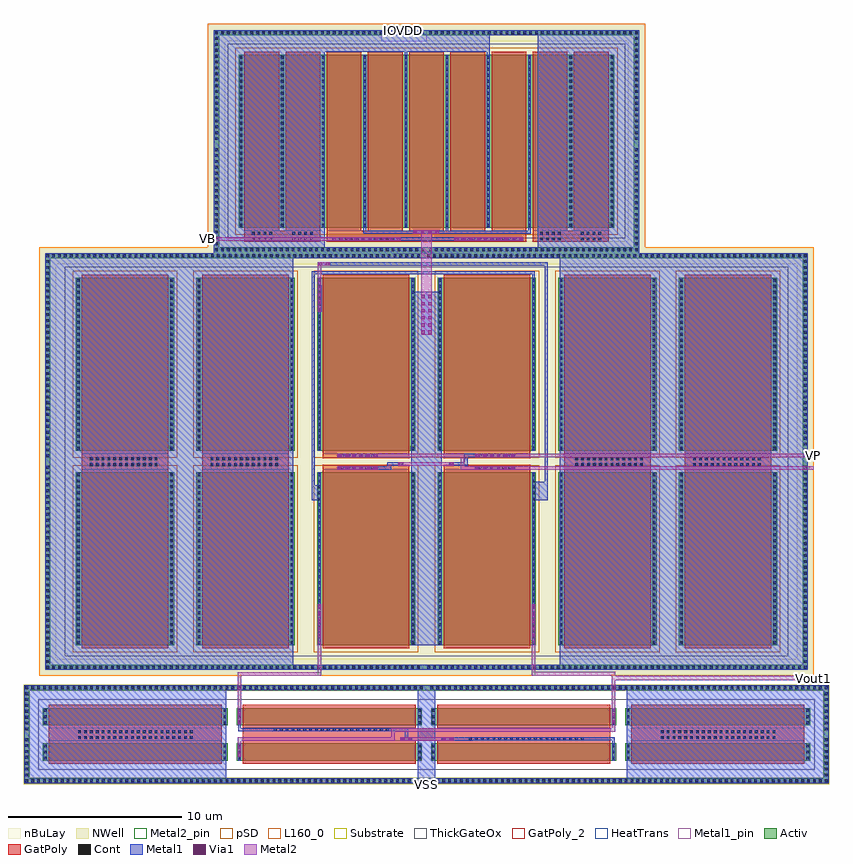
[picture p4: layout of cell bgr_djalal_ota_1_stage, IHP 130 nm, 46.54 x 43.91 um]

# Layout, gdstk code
import gdstk
lib = gdstk.Library(unit=1e-6, precision=1e-09)
def R(c, l, rs):  # rectangles x0, y0, x1, y1
    for r in rs: c.add(gdstk.rectangle(r[:2], r[2:], *l))
def A(c, l, x, y, w, h, nx, ny, dx, dy):  # array of equal rectangles
    R(c, l, [(x+i*dx, y+j*dy, x+i*dx+w, y+j*dy+h) for i in range(nx) for j in range(ny)])
def P(c, l, *ps):  # polygons
    for p in ps: c.add(gdstk.Polygon(p, *l))
Activ = (1, 0)
GatPoly = (5, 0)
GatPoly_2 = (5, 2)
Cont = (6, 0)
Metal1 = (8, 0)
Metal1_pin = (8, 2)
Metal2 = (10, 0)
Metal2_pin = (10, 2)
pSD = (14, 0)
Via1 = (19, 0)
NWell = (31, 0)
nBuLay = (32, 0)
Substrate = (40, 0)
ThickGateOx = (44, 0)
HeatTrans = (51, 0)
L160_0 = (160, 0)

guard_ring_13 = lib.new_cell('guard_ring$13')
R(guard_ring_13, Activ, [(-22.035,-11.74,-21.735,11.74), (21.735,-11.74,22.035,11.74), (-22.035,11.74,22.035,12.04)])
P(guard_ring_13, Activ, [(-22.035,-12.04),(-22.035,11.74),(-21.735,11.74),(-21.735,-11.74),(21.735,-11.74),(21.735,11.74),(-22.035,11.74),(-22.035,12.04),(22.035,12.04),(22.035,-12.04)])
A(guard_ring_13, Cont, -21.965, -11.97, 0.16, 0.16, 64, 2, 0.34, 23.78)
A(guard_ring_13, Cont, 0.045, -11.97, 0.16, 0.16, 65, 2, 0.34, 23.78)
A(guard_ring_13, Cont, -21.965, -11.63, 0.16, 0.16, 1, 34, 0, 0.34)
A(guard_ring_13, Cont, 21.805, -11.63, 0.16, 0.16, 1, 34, 0, 0.34)
A(guard_ring_13, Cont, -21.965, 0.25, 0.16, 0.16, 1, 34, 0, 0.34)
A(guard_ring_13, Cont, 21.805, 0.25, 0.16, 0.16, 1, 34, 0, 0.34)
R(guard_ring_13, Metal1, [(-22.035,-12.04,22.035,-11.74), (-22.035,-11.74,-21.735,11.74), (21.735,-11.74,22.035,11.74), (-22.035,11.74,22.035,12.04)])
R(guard_ring_13, NWell, [(-22.385,-12.39,22.385,12.39)])
R(guard_ring_13, nBuLay, [(-22.385,-11.39,-21.385,11.39), (21.385,-11.39,22.385,11.39), (-22.385,11.39,22.385,12.39)])
P(guard_ring_13, nBuLay, [(-22.385,-12.39),(-22.385,11.39),(-21.385,11.39),(-21.385,-11.39),(21.385,-11.39),(21.385,11.39),(-22.385,11.39),(-22.385,12.39),(22.385,12.39),(22.385,-12.39)])
guard_ring_13.add(gdstk.Label('well', (0,-11.89), layer=63, texttype=0))

via_stack_30 = lib.new_cell('via_stack$30')
R(via_stack_30, GatPoly, [(-1,-0.15,1,0.15)])
A(via_stack_30, Cont, -0.93, -0.08, 0.16, 0.16, 6, 1, 0.34, 0)
R(via_stack_30, Metal1, [(-1.17,-0.105,1.17,0.105)])
R(via_stack_30, Metal2, [(-1.17,-0.1,1.17,0.1)])
A(via_stack_30, Via1, -1.12, -0.095, 0.19, 0.19, 6, 1, 0.41, 0)

via_stack_3 = lib.new_cell('via_stack$3')
R(via_stack_3, Metal1, [(-0.145,-0.105,0.145,0.105)])
R(via_stack_3, Metal2, [(-0.145,-0.1,0.145,0.1)])
R(via_stack_3, Via1, [(-0.095,-0.095,0.095,0.095)])

via_stack_6 = lib.new_cell('via_stack$6')
R(via_stack_6, Metal1, [(-0.35,-0.105,0.35,0.105)])
R(via_stack_6, Metal2, [(-0.35,-0.1,0.35,0.1)])
R(via_stack_6, Via1, [(-0.3,-0.095,-0.11,0.095), (0.11,-0.095,0.3,0.095)])

via_stack_4 = lib.new_cell('via_stack$4')
R(via_stack_4, Metal1, [(-0.105,-0.76,0.105,0.76)])
R(via_stack_4, Metal2, [(-0.1,-0.76,0.1,0.76)])
A(via_stack_4, Via1, -0.095, -0.71, 0.19, 0.19, 1, 4, 0, 0.41)

via_stack_31 = lib.new_cell('via_stack$31')
R(via_stack_31, GatPoly, [(-2.02,-0.32,2.02,0.32)])
A(via_stack_31, Cont, -1.95, -0.25, 0.16, 0.16, 12, 2, 0.34, 0.34)
R(via_stack_31, Metal1, [(-2,-0.25,2,0.25)])

via_stack_18 = lib.new_cell('via_stack$18')
R(via_stack_18, Metal1, [(-0.105,-0.965,0.105,0.965)])
R(via_stack_18, Metal2, [(-0.1,-0.965,0.1,0.965)])
A(via_stack_18, Via1, -0.095, -0.915, 0.19, 0.19, 1, 5, 0, 0.41)

via_stack_32 = lib.new_cell('via_stack$32')
R(via_stack_32, Metal1, [(-0.31,-1.17,0.31,1.17)])
R(via_stack_32, Metal2, [(-0.305,-1.17,0.305,1.17)])
A(via_stack_32, Via1, -0.3, -1.12, 0.19, 0.19, 1, 6, 0, 0.41)
A(via_stack_32, Via1, 0.11, -1.12, 0.19, 0.19, 1, 6, 0, 0.41)

pmoshv_2 = lib.new_cell('pmosHV$2')
R(pmoshv_2, Activ, [(0,0,0.3,0.3), (0,0,5.68,10), (5.38,0,5.68,0.3)])
R(pmoshv_2, GatPoly, [(0.34,-0.18,5.34,10.18)])
R(pmoshv_2, GatPoly_2, [(0.34,-0.18,5.34,10.18)])
A(pmoshv_2, Cont, 0.07, 0.07, 0.16, 0.16, 1, 4, 0, 0.345)
A(pmoshv_2, Cont, 5.45, 0.07, 0.16, 0.16, 1, 4, 0, 0.345)
A(pmoshv_2, Cont, 0.07, 1.455, 0.16, 0.16, 1, 3, 0, 0.345)
A(pmoshv_2, Cont, 5.45, 1.455, 0.16, 0.16, 1, 3, 0, 0.345)
A(pmoshv_2, Cont, 0.07, 2.495, 0.16, 0.16, 1, 4, 0, 0.345)
A(pmoshv_2, Cont, 5.45, 2.495, 0.16, 0.16, 1, 4, 0, 0.345)
A(pmoshv_2, Cont, 0.07, 3.88, 0.16, 0.16, 1, 3, 0, 0.345)
A(pmoshv_2, Cont, 5.45, 3.88, 0.16, 0.16, 1, 3, 0, 0.345)
A(pmoshv_2, Cont, 0.07, 4.92, 0.16, 0.16, 1, 4, 0, 0.345)
A(pmoshv_2, Cont, 5.45, 4.92, 0.16, 0.16, 1, 4, 0, 0.345)
A(pmoshv_2, Cont, 0.07, 6.305, 0.16, 0.16, 1, 3, 0, 0.345)
A(pmoshv_2, Cont, 5.45, 6.305, 0.16, 0.16, 1, 3, 0, 0.345)
A(pmoshv_2, Cont, 0.07, 7.345, 0.16, 0.16, 1, 4, 0, 0.345)
A(pmoshv_2, Cont, 5.45, 7.345, 0.16, 0.16, 1, 4, 0, 0.345)
A(pmoshv_2, Cont, 0.07, 8.73, 0.16, 0.16, 1, 3, 0, 0.345)
A(pmoshv_2, Cont, 5.45, 8.73, 0.16, 0.16, 1, 3, 0, 0.345)
R(pmoshv_2, Cont, [(0.07,9.77,0.23,9.93), (5.45,9.77,5.61,9.93)])
R(pmoshv_2, Metal1, [(0.07,0,0.23,10), (5.45,0,5.61,10)])
R(pmoshv_2, Metal1_pin, [(0.07,0,0.23,10), (5.45,0,5.61,10)])
R(pmoshv_2, pSD, [(-0.18,-0.4,5.86,10.4)])
R(pmoshv_2, NWell, [(-0.62,-0.62,6.3,10.62)])
R(pmoshv_2, Substrate, [(5.38,0,5.68,0.3)])
R(pmoshv_2, ThickGateOx, [(-0.62,-0.62,6.3,10.62)])
R(pmoshv_2, HeatTrans, [(0.34,-0.18,5.34,10.18)])
pmoshv_2.add(gdstk.Label('pmosHV', (2.84,5), layer=63, texttype=0))
pmoshv_2.add(gdstk.Label('pmos', (2.84,5), layer=51, texttype=0))

bgr_djalal_ota_pairs = lib.new_cell('bgr_djalal_ota_pairs')
R(bgr_djalal_ota_pairs, GatPoly, [(7.955,-0.585,12.955,0.55), (-19.925,-0.575,-14.925,0.525), (-12.955,-0.575,-7.955,0.525), (14.925,-0.575,19.925,0.525), (-5.985,-0.44,-0.985,-0.195), (0.985,-0.44,5.985,-0.195), (-5.985,0.195,-0.985,0.44), (0.985,0.195,5.985,0.44)])
R(bgr_djalal_ota_pairs, Metal1, [(-22.035,-12.04,-7.685,12.04), (7.685,-12.04,22.035,12.04), (-0.875,-10.62,0.875,9.81), (6.095,-2.25,6.995,-1.175), (6.835,-2.25,6.995,11.505), (-6.63,-2.24,-6.47,11.005), (-6.63,-2.24,-6.095,-1.385), (-2.815,-0.47,-2.045,-0.26), (-2.28,-0.47,-2.045,-0.04), (-2.28,-0.25,-1.33,-0.04), (1.49,-0.25,2.37,-0.04), (2.17,-0.25,2.37,0.45), (2.17,0.24,2.8,0.45), (6.095,10.2,6.255,11.005), (-6.63,10.805,6.255,11.005), (-6.255,11.305,6.995,11.505)])
R(bgr_djalal_ota_pairs, Metal1_pin, [(-1.89,11.74,2.475,12.04)])
R(bgr_djalal_ota_pairs, Metal2, [(-6.275,-12.39,-6.075,-9.88), (6.08,-12.39,6.28,-9.585), (1.965,-0.465,2.17,0.445), (1.98,-0.465,2.83,-0.265), (4.775,-0.465,22.385,-0.265), (-1.525,-0.245,1.385,-0.045), (-3.09,0.245,1.98,0.445), (4.775,0.245,22.385,0.445), (-0.305,9.235,0.305,12.39), (-6.27,10.025,-6.07,11.51)])
R(bgr_djalal_ota_pairs, Metal2_pin, [(-6.275,-12.39,-6.075,-12.165), (6.08,-12.39,6.28,-12.145), (22.075,-0.465,22.385,-0.265), (22.07,0.245,22.385,0.445), (-0.305,12.075,0.305,12.39)])
R(bgr_djalal_ota_pairs, ThickGateOx, [(-20.885,-11.24,20.885,11.24), (-13.915,-11.24,13.915,11.24)])
R(bgr_djalal_ota_pairs, L160_0, [(-22.385,-12.39,22.385,12.39)])
bgr_djalal_ota_pairs.add(gdstk.Reference(guard_ring_13, (0,0)))
bgr_djalal_ota_pairs.add(gdstk.Reference(via_stack_30, (-3.975,0.345)))
bgr_djalal_ota_pairs.add(gdstk.Reference(via_stack_30, (-3.985,-0.365)))
bgr_djalal_ota_pairs.add(gdstk.Reference(via_stack_30, (3.97,0.345)))
bgr_djalal_ota_pairs.add(gdstk.Reference(via_stack_30, (3.96,-0.365)))
bgr_djalal_ota_pairs.add(gdstk.Reference(via_stack_3, (1.425,-0.145)))
bgr_djalal_ota_pairs.add(gdstk.Reference(via_stack_3, (-1.475,-0.145)))
bgr_djalal_ota_pairs.add(gdstk.Reference(via_stack_6, (-5.92,11.41)))
bgr_djalal_ota_pairs.add(gdstk.Reference(via_stack_4, (-6.17,9.41)))
bgr_djalal_ota_pairs.add(gdstk.Reference(via_stack_31, (-10.525,-0.01)))
bgr_djalal_ota_pairs.add(gdstk.Reference(via_stack_31, (10.545,-0.01)))
bgr_djalal_ota_pairs.add(gdstk.Reference(via_stack_18, (6.18,-9.22)))
bgr_djalal_ota_pairs.add(gdstk.Reference(via_stack_18, (-6.175,-9.22)))
bgr_djalal_ota_pairs.add(gdstk.Reference(via_stack_32, (0,8.505)))
r = gdstk.Reference(pmoshv_2, (-20.265,-10.62)); r.repetition = gdstk.Repetition(6, 2, v1=(6.97,0), v2=(0,11.24)); bgr_djalal_ota_pairs.add(r)
bgr_djalal_ota_pairs.add(gdstk.Reference(via_stack_31, (-17.495,-0.01)))
bgr_djalal_ota_pairs.add(gdstk.Reference(via_stack_31, (17.355,-0.01)))
bgr_djalal_ota_pairs.add(gdstk.Label('IOVDD', (1.07,12.04), layer=8, texttype=2))
bgr_djalal_ota_pairs.add(gdstk.Label('Vp', (22.385,0.345), layer=10, texttype=2))
bgr_djalal_ota_pairs.add(gdstk.Label('Vn', (22.385,-0.365), layer=10, texttype=2))
bgr_djalal_ota_pairs.add(gdstk.Label('Iref', (-6.175,-12.39), layer=10, texttype=2))
bgr_djalal_ota_pairs.add(gdstk.Label('Vout1', (6.18,-12.39), layer=10, texttype=2))
bgr_djalal_ota_pairs.add(gdstk.Label('tail', (0,12.39), layer=10, texttype=2))

nmoshv_6 = lib.new_cell('nmosHV$6')
R(nmoshv_6, Activ, [(0,0,0.3,0.3), (0,0,10.68,1), (10.38,0,10.68,0.3)])
R(nmoshv_6, GatPoly, [(0.34,-0.18,10.34,1.18)])
R(nmoshv_6, GatPoly_2, [(0.34,-0.18,10.34,1.18)])
A(nmoshv_6, Cont, 0.07, 0.07, 0.16, 0.16, 1, 3, 0, 0.35)
A(nmoshv_6, Cont, 10.45, 0.07, 0.16, 0.16, 1, 3, 0, 0.35)
R(nmoshv_6, Metal1, [(0.07,0,0.23,1), (10.45,0,10.61,1)])
R(nmoshv_6, Metal1_pin, [(0.07,0,0.23,1), (10.45,0,10.61,1)])
R(nmoshv_6, ThickGateOx, [(-0.27,-0.52,10.95,1.52)])
R(nmoshv_6, HeatTrans, [(0.34,-0.18,10.34,1.18)])
nmoshv_6.add(gdstk.Label('nmosHV', (5.34,0.5), layer=63, texttype=0))
nmoshv_6.add(gdstk.Label('nmosHV', (5.34,0.5), layer=51, texttype=0))

guard_ring_12 = lib.new_cell('guard_ring$12')
R(guard_ring_12, Activ, [(-23.24,-2.54,-22.94,2.54), (22.94,-2.54,23.24,2.54), (-23.24,2.54,23.24,2.84)])
P(guard_ring_12, Activ, [(-23.24,-2.84),(-23.24,2.54),(-22.94,2.54),(-22.94,-2.54),(22.94,-2.54),(22.94,2.54),(-23.24,2.54),(-23.24,2.84),(23.24,2.84),(23.24,-2.84)])
A(guard_ring_12, Cont, -23.17, -2.77, 0.16, 0.16, 68, 2, 0.34, 5.38)
A(guard_ring_12, Cont, 0.23, -2.77, 0.16, 0.16, 68, 2, 0.34, 5.38)
A(guard_ring_12, Cont, -23.17, -2.43, 0.16, 0.16, 1, 7, 0, 0.34)
A(guard_ring_12, Cont, 23.01, -2.43, 0.16, 0.16, 1, 7, 0, 0.34)
A(guard_ring_12, Cont, -23.17, 0.23, 0.16, 0.16, 1, 7, 0, 0.34)
A(guard_ring_12, Cont, 23.01, 0.23, 0.16, 0.16, 1, 7, 0, 0.34)
R(guard_ring_12, Metal1, [(-23.24,-2.84,23.24,-2.54), (-23.24,-2.54,-22.94,2.54), (22.94,-2.54,23.24,2.54), (-23.24,2.54,23.24,2.84)])
R(guard_ring_12, pSD, [(-23.27,-2.51,-22.91,2.51), (22.91,-2.51,23.27,2.51), (-23.27,2.51,23.27,2.87)])
P(guard_ring_12, pSD, [(-23.27,-2.87),(-23.27,2.51),(-22.91,2.51),(-22.91,-2.51),(22.91,-2.51),(22.91,2.51),(-23.27,2.51),(-23.27,2.87),(23.27,2.87),(23.27,-2.87)])
R(guard_ring_12, Substrate, [(-23.27,-2.51,-22.91,2.51), (22.91,-2.51,23.27,2.51), (-23.27,2.51,23.27,2.87)])
P(guard_ring_12, Substrate, [(-23.27,-2.87),(-23.27,2.51),(-22.91,2.51),(-22.91,-2.51),(22.91,-2.51),(22.91,2.51),(-23.27,2.51),(-23.27,2.87),(23.27,2.87),(23.27,-2.87)])
guard_ring_12.add(gdstk.Label('sub!', (0,-2.69), layer=63, texttype=0))

via_stack_34 = lib.new_cell('via_stack$34')
R(via_stack_34, GatPoly, [(-3.38,-0.15,3.38,0.15)])
A(via_stack_34, Cont, -3.31, -0.08, 0.16, 0.16, 20, 1, 0.34, 0)
R(via_stack_34, Metal1, [(-3.36,-0.08,3.36,0.08)])

via_stack_22 = lib.new_cell('via_stack$22')
R(via_stack_22, Metal1, [(-0.105,-0.35,0.105,0.35)])
R(via_stack_22, Metal2, [(-0.1,-0.35,0.1,0.35)])
R(via_stack_22, Via1, [(-0.095,-0.3,0.095,-0.11), (-0.095,0.11,0.095,0.3)])

via_stack_35 = lib.new_cell('via_stack$35')
R(via_stack_35, GatPoly, [(-3.38,-0.32,3.38,0.32)])
A(via_stack_35, Cont, -3.31, -0.25, 0.16, 0.16, 20, 2, 0.34, 0.34)
R(via_stack_35, Metal1, [(-3.36,-0.25,3.36,0.25)])

bgr_djalal_ota_mirror = lib.new_cell('bgr_djalal_ota_mirror')
R(bgr_djalal_ota_mirror, GatPoly, [(-21.83,-0.375,-11.83,0.34), (11.83,-0.375,21.83,0.34), (-10.61,-0.34,10.61,0.34)])
R(bgr_djalal_ota_mirror, Metal1, [(-23.24,-2.84,-11.56,2.84), (-0.5,-2.84,0.5,2.84), (11.56,-2.84,23.24,2.84), (10.72,-0.87,10.88,-0.18), (1.365,-0.37,2.685,-0.17), (-1.27,-0.365,-1.05,0.34), (8.34,-0.34,10.88,-0.18), (-10.88,0.18,-10.72,0.87), (-10.88,0.18,-8.34,0.34), (-2.5,0.18,-1.05,0.34)])
R(bgr_djalal_ota_mirror, Metal1_pin, [(-2.95,-2.84,2.425,-2.54)])
R(bgr_djalal_ota_mirror, Metal2, [(-10.895,-0.88,-10.695,-0.17), (-10.895,-0.37,-1.835,-0.17), (-0.98,-0.37,1.215,-0.17), (-2.035,-0.34,-1.835,0.34), (-2.035,0.135,10.9,0.34), (10.7,0.135,10.9,0.845), (-10.9,0.6,-10.7,2.87), (10.7,0.6,10.9,2.87)])
R(bgr_djalal_ota_mirror, Metal2_pin, [(-10.9,2.685,-10.7,2.87), (10.7,2.685,10.9,2.87)])
R(bgr_djalal_ota_mirror, L160_0, [(-23.24,-2.84,23.24,2.84)])
r = gdstk.Reference(nmoshv_6, (-22.17,-1.52)); r.repetition = gdstk.Repetition(4, 2, v1=(11.22,0), v2=(0,2.04)); bgr_djalal_ota_mirror.add(r)
bgr_djalal_ota_mirror.add(gdstk.Reference(guard_ring_12, (0,0)))
bgr_djalal_ota_mirror.add(gdstk.Reference(via_stack_34, (5.765,-0.26)))
bgr_djalal_ota_mirror.add(gdstk.Reference(via_stack_34, (-5.505,0.26)))
bgr_djalal_ota_mirror.add(gdstk.Reference(via_stack_6, (1.215,-0.27)))
bgr_djalal_ota_mirror.add(gdstk.Reference(via_stack_6, (-1.16,-0.27)))
bgr_djalal_ota_mirror.add(gdstk.Reference(via_stack_22, (10.8,0.925)))
bgr_djalal_ota_mirror.add(gdstk.Reference(via_stack_22, (-10.795,-0.96), x_reflection=True))
bgr_djalal_ota_mirror.add(gdstk.Reference(via_stack_35, (-16.815,-0.02)))
bgr_djalal_ota_mirror.add(gdstk.Reference(via_stack_35, (16.845,-0.02)))
bgr_djalal_ota_mirror.add(gdstk.Reference(via_stack_22, (-10.8,0.925)))
bgr_djalal_ota_mirror.add(gdstk.Label('VSS', (0,-2.87), layer=8, texttype=2))
bgr_djalal_ota_mirror.add(gdstk.Label('Iref', (-10.8,2.87), layer=10, texttype=2))
bgr_djalal_ota_mirror.add(gdstk.Label('Vout1', (10.8,2.87), layer=10, texttype=2))

pmoshv_5 = lib.new_cell('pmosHV$5')
A(pmoshv_5, Activ, 0, 0, 0.3, 0.3, 10, 1, 2.38, 0)
R(pmoshv_5, Activ, [(-1.42,-1.12,-1.12,11.12), (22.84,-1.12,23.14,11.12), (0,0,21.72,10), (-1.42,11.12,23.14,11.42)])
P(pmoshv_5, Activ, [(-1.42,-1.42),(-1.42,11.12),(-1.12,11.12),(-1.12,-1.12),(22.84,-1.12),(22.84,11.12),(-1.42,11.12),(-1.42,11.42),(23.14,11.42),(23.14,-1.42)])
A(pmoshv_5, GatPoly, 0.34, -0.18, 2, 10.36, 9, 1, 2.38, 0)
R(pmoshv_5, GatPoly_2, [(0.34,-0.18,2.34,10.18)])
A(pmoshv_5, Cont, -1.35, -1.35, 0.16, 0.16, 36, 2, 0.34, 12.54)
A(pmoshv_5, Cont, 11.01, -1.35, 0.16, 0.16, 36, 2, 0.34, 12.54)
A(pmoshv_5, Cont, -1.35, -1.01, 0.16, 0.16, 1, 17, 0, 0.34)
A(pmoshv_5, Cont, 22.91, -1.01, 0.16, 0.16, 1, 17, 0, 0.34)
A(pmoshv_5, Cont, 0.07, 0.07, 0.16, 0.16, 10, 4, 2.38, 0.345)
A(pmoshv_5, Cont, 0.07, 1.455, 0.16, 0.16, 10, 3, 2.38, 0.345)
A(pmoshv_5, Cont, 0.07, 2.495, 0.16, 0.16, 10, 4, 2.38, 0.345)
A(pmoshv_5, Cont, 0.07, 3.88, 0.16, 0.16, 10, 3, 2.38, 0.345)
A(pmoshv_5, Cont, 0.07, 4.92, 0.16, 0.16, 10, 4, 2.38, 0.345)
A(pmoshv_5, Cont, -1.35, 5.07, 0.16, 0.16, 1, 18, 0, 0.34)
A(pmoshv_5, Cont, 22.91, 5.07, 0.16, 0.16, 1, 18, 0, 0.34)
A(pmoshv_5, Cont, 0.07, 6.305, 0.16, 0.16, 10, 3, 2.38, 0.345)
A(pmoshv_5, Cont, 0.07, 7.345, 0.16, 0.16, 10, 4, 2.38, 0.345)
A(pmoshv_5, Cont, 0.07, 8.73, 0.16, 0.16, 10, 3, 2.38, 0.345)
A(pmoshv_5, Cont, 0.07, 9.77, 0.16, 0.16, 10, 1, 2.38, 0)
A(pmoshv_5, Metal1, 0.07, 0, 0.16, 10, 10, 1, 2.38, 0)
R(pmoshv_5, Metal1, [(-1.42,-1.42,23.14,-1.12), (-1.42,-1.12,-1.12,11.12), (22.84,-1.12,23.14,11.12), (-1.42,11.12,23.14,11.42)])
R(pmoshv_5, Metal1_pin, [(0.07,0,0.23,10), (2.45,0,2.61,10)])
R(pmoshv_5, pSD, [(-0.18,-0.4,21.9,10.4)])
R(pmoshv_5, NWell, [(-1.77,-1.77,23.49,11.77), (-0.62,-0.62,22.34,10.62)])
R(pmoshv_5, nBuLay, [(-1.77,-0.77,-0.77,10.77), (22.49,-0.77,23.49,10.77), (-1.77,10.77,23.49,11.77)])
P(pmoshv_5, nBuLay, [(-1.77,-1.77),(-1.77,10.77),(-0.77,10.77),(-0.77,-0.77),(22.49,-0.77),(22.49,10.77),(-1.77,10.77),(-1.77,11.77),(23.49,11.77),(23.49,-1.77)])
R(pmoshv_5, Substrate, [(21.42,0,21.72,0.3)])
R(pmoshv_5, ThickGateOx, [(-0.62,-0.62,22.34,10.62)])
A(pmoshv_5, HeatTrans, 0.34, -0.18, 2, 10.36, 9, 1, 2.38, 0)
pmoshv_5.add(gdstk.Label('pmosHV', (1.34,5), layer=63, texttype=0))
pmoshv_5.add(gdstk.Label('well', (10.86,-1.27), layer=63, texttype=0))
pmoshv_5.add(gdstk.Label('pmos', (1.34,5), layer=51, texttype=0))
pmoshv_5.add(gdstk.Label('pmos', (3.72,5), layer=51, texttype=0))
pmoshv_5.add(gdstk.Label('pmos', (6.1,5), layer=51, texttype=0))
pmoshv_5.add(gdstk.Label('pmos', (8.48,5), layer=51, texttype=0))
pmoshv_5.add(gdstk.Label('pmos', (10.86,5), layer=51, texttype=0))
pmoshv_5.add(gdstk.Label('pmos', (13.24,5), layer=51, texttype=0))
pmoshv_5.add(gdstk.Label('pmos', (15.62,5), layer=51, texttype=0))
pmoshv_5.add(gdstk.Label('pmos', (18,5), layer=51, texttype=0))
pmoshv_5.add(gdstk.Label('pmos', (20.38,5), layer=51, texttype=0))

via_stack_36 = lib.new_cell('via_stack$36')
R(via_stack_36, GatPoly, [(-1.68,-0.15,1.68,0.15)])
A(via_stack_36, Cont, -1.61, -0.08, 0.16, 0.16, 10, 1, 0.34, 0)
R(via_stack_36, Metal1, [(-1.99,-0.105,1.99,0.105)])
R(via_stack_36, Metal2, [(-1.99,-0.1,1.99,0.1)])
A(via_stack_36, Via1, -1.94, -0.095, 0.19, 0.19, 10, 1, 0.41, 0)

via_stack_23 = lib.new_cell('via_stack$23')
R(via_stack_23, Metal1, [(-0.76,-0.105,0.76,0.105)])
R(via_stack_23, Metal2, [(-0.76,-0.1,0.76,0.1)])
A(via_stack_23, Via1, -0.71, -0.095, 0.19, 0.19, 4, 1, 0.41, 0)

via_stack_10 = lib.new_cell('via_stack$10')
R(via_stack_10, GatPoly, [(-0.66,-0.32,0.66,0.32)])
A(via_stack_10, Cont, -0.59, -0.25, 0.16, 0.16, 4, 2, 0.34, 0.34)
R(via_stack_10, Metal1, [(-0.64,-0.25,0.64,0.25)])

bgr_djalal_ota_tail = lib.new_cell('bgr_djalal_ota_tail')
R(bgr_djalal_ota_tail, GatPoly, [(-10.52,-5.805,-6.14,-5.18), (6.14,-5.805,10.52,-5.18), (-5.76,-5.795,5.76,-5.18)])
R(bgr_djalal_ota_tail, Metal1, [(-12.28,-6.42,-5.87,6.42), (6.425,-6.42,12.28,6.42), (-2.1,-5.745,1.65,-5.545), (-3.65,-5.34,6.03,-5.18), (-3.65,-5.34,-3.49,-4.675), (1.11,-5.34,1.27,-4.7), (5.87,-5.34,6.03,-4.59), (3.49,4.59,3.65,5.34), (-6.03,4.675,-5.87,5.34), (-1.27,4.7,-1.11,5.34), (-6.03,5.18,3.65,5.34), (-6.03,5.18,3.65,6.42)])
R(bgr_djalal_ota_tail, Metal1_pin, [(-2.6,5.77,0,6.42)])
R(bgr_djalal_ota_tail, Metal2, [(-12.63,-5.745,-5.21,-5.545)])
R(bgr_djalal_ota_tail, Metal2_pin, [(-12.63,-5.745,-12.36,-5.545), (-0.77,-5.355,0.75,-5.155)])
R(bgr_djalal_ota_tail, L160_0, [(-12.63,-6.77,12.63,6.77)])
bgr_djalal_ota_tail.add(gdstk.Reference(pmoshv_5, (-10.86,-5)))
bgr_djalal_ota_tail.add(gdstk.Reference(via_stack_36, (-3.465,-5.645)))
bgr_djalal_ota_tail.add(gdstk.Reference(via_stack_36, (3.6,-5.645)))
bgr_djalal_ota_tail.add(gdstk.Reference(via_stack_23, (-0.01,-5.255)))
bgr_djalal_ota_tail.add(gdstk.Reference(via_stack_10, (9.5,-5.485)))
bgr_djalal_ota_tail.add(gdstk.Reference(via_stack_10, (-7.16,-5.485)))
bgr_djalal_ota_tail.add(gdstk.Reference(via_stack_10, (-9.5,-5.485)))
bgr_djalal_ota_tail.add(gdstk.Reference(via_stack_10, (7.16,-5.485)))
bgr_djalal_ota_tail.add(gdstk.Label('IOVDD', (-1.3,6.42), layer=8, texttype=2))
bgr_djalal_ota_tail.add(gdstk.Label('tail', (-0.01,-5.355), layer=10, texttype=2))
bgr_djalal_ota_tail.add(gdstk.Label('VB', (-12.63,-5.645), layer=10, texttype=2))

bgr_djalal_ota_1_stage = lib.new_cell('bgr_djalal_ota_1_stage')
R(bgr_djalal_ota_1_stage, Activ, [(-12.28,24.68,12.28,24.725)])
R(bgr_djalal_ota_1_stage, Metal1, [(-12.28,24.68,12.28,24.725)])
R(bgr_djalal_ota_1_stage, Metal2, [(-10.9,-0.765,-10.7,0.475), (10.7,-0.705,10.9,0.495), (10.7,-0.005,22.385,0.25), (-10.9,0.25,-6.075,0.475), (6.08,0.25,10.9,0.495), (-0.305,24.235,0.31,25.99)])
R(bgr_djalal_ota_1_stage, Metal2_pin, [(22.06,-0.005,22.385,0.25)])
bgr_djalal_ota_1_stage.add(gdstk.Reference(bgr_djalal_ota_pairs, (0,12.64)))
bgr_djalal_ota_1_stage.add(gdstk.Reference(bgr_djalal_ota_mirror, (0,-3.12)))
bgr_djalal_ota_1_stage.add(gdstk.Reference(bgr_djalal_ota_tail, (0,31.145)))
bgr_djalal_ota_1_stage.add(gdstk.Label('IOVDD', (-1.3,37.565), layer=8, texttype=2))
bgr_djalal_ota_1_stage.add(gdstk.Label('VSS', (0,-5.99), layer=8, texttype=2))
bgr_djalal_ota_1_stage.add(gdstk.Label('Vout1', (22.385,0.123), layer=10, texttype=2))
bgr_djalal_ota_1_stage.add(gdstk.Label('VP', (22.385,12.985), layer=10, texttype=2))
bgr_djalal_ota_1_stage.add(gdstk.Label('VN', (22.385,12.275), layer=10, texttype=2))
bgr_djalal_ota_1_stage.add(gdstk.Label('VB', (-12.63,25.5), layer=10, texttype=2))

lib.write_gds('bgr_djalal_ota_1_stage.gds')
